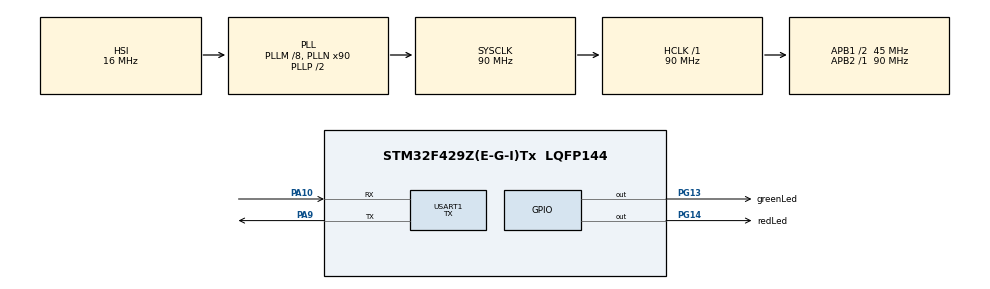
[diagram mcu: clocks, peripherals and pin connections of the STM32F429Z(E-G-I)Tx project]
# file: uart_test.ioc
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Mcu.Family=STM32F4
Mcu.Name=STM32F429Z(E-G-I)Tx
Mcu.Package=LQFP144
NVIC.PriorityGroup=NVIC_PRIORITYGROUP_4
NVIC.TIM8_TRG_COM_TIM14_IRQn=true\:0\:0\:false\:false\:true\:true
PA10.Mode=Asynchronous
PA10.Signal=USART1_RX
PA13.Mode=Serial_Wire
PA13.Signal=SYS_JTMS-SWDIO
PA14.Mode=Serial_Wire
PA14.Signal=SYS_JTCK-SWCLK
PA9.Mode=Asynchronous
PA9.Signal=USART1_TX
PG13.GPIO_Label=greenLed
PG13.Signal=GPIO_Output
PG14.GPIO_Label=redLed
PG14.Signal=GPIO_Output
ProjectManager.HeapSize=0x200
ProjectManager.StackSize=0x400
ProjectManager.TargetToolchain=SW4STM32
RCC.48MHZClocksFreq_Value=45000000
RCC.AHBFreq_Value=90000000
RCC.APB1CLKDivider=RCC_HCLK_DIV2
RCC.APB1Freq_Value=45000000
RCC.APB1TimFreq_Value=90000000
RCC.APB2Freq_Value=90000000
RCC.APB2TimFreq_Value=90000000
RCC.CortexFreq_Value=90000000
RCC.HCLKFreq_Value=90000000
RCC.HSE_VALUE=25000000
RCC.HSI_VALUE=16000000
RCC.LSE_VALUE=32768
RCC.PLLM=8
RCC.PLLN=90
RCC.SYSCLKFreq_VALUE=90000000
RCC.SYSCLKSource=RCC_SYSCLKSOURCE_PLLCLK
RCC.VCOOutputFreq_Value=180000000
TIM14.Period=9000
TIM14.Prescaler=10000
USART1.Mode=MODE_TX
USART1.VirtualMode=VM_ASYNC
VP_TIM14_VS_ClockSourceINT.Mode=Enable_Timer
board=uart_test

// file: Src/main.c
/**
  ******************************************************************************
  * File Name          : main.c
  * Description        : Main program body
  ******************************************************************************
  ** This notice applies to any and all portions of this file
  * that are not between comment pairs USER CODE BEGIN and
  * USER CODE END. Other portions of this file, whether
  * inserted by the user or by software development tools
  * are owned by their respective copyright owners.
  *
  * COPYRIGHT(c) 2017 STMicroelectronics
  *
  * Redistribution and use in source and binary forms, with or without modification,
  * are permitted provided that the following conditions are met:
  *   1. Redistributions of source code must retain the above copyright notice,
  *      this list of conditions and the following disclaimer.
  *   2. Redistributions in binary form must reproduce the above copyright notice,
  *      this list of conditions and the following disclaimer in the documentation
  *      and/or other materials provided with the distribution.
  *   3. Neither the name of STMicroelectronics nor the names of its contributors
  *      may be used to endorse or promote products derived from this software
  *      without specific prior written permission.
  *
  * THIS SOFTWARE IS PROVIDED BY THE COPYRIGHT HOLDERS AND CONTRIBUTORS "AS IS"
  * AND ANY EXPRESS OR IMPLIED WARRANTIES, INCLUDING, BUT NOT LIMITED TO, THE
  * IMPLIED WARRANTIES OF MERCHANTABILITY AND FITNESS FOR A PARTICULAR PURPOSE ARE
  * DISCLAIMED. IN NO EVENT SHALL THE COPYRIGHT HOLDER OR CONTRIBUTORS BE LIABLE
  * FOR ANY DIRECT, INDIRECT, INCIDENTAL, SPECIAL, EXEMPLARY, OR CONSEQUENTIAL
  * DAMAGES (INCLUDING, BUT NOT LIMITED TO, PROCUREMENT OF SUBSTITUTE GOODS OR
  * SERVICES; LOSS OF USE, DATA, OR PROFITS; OR BUSINESS INTERRUPTION) HOWEVER
  * CAUSED AND ON ANY THEORY OF LIABILITY, WHETHER IN CONTRACT, STRICT LIABILITY,
  * OR TORT (INCLUDING NEGLIGENCE OR OTHERWISE) ARISING IN ANY WAY OUT OF THE USE
  * OF THIS SOFTWARE, EVEN IF ADVISED OF THE POSSIBILITY OF SUCH DAMAGE.
  *
  ******************************************************************************
  */
#include "main.h"
#include "stm32f4xx_hal.h"

/* USER CODE BEGIN Includes */
#include "Uart.h"
#include "Gpio.h"
#include <string.h>
#include <malloc.h>
/* USER CODE END Includes */

TIM_HandleTypeDef htim14;

UART_HandleTypeDef huart1;

/* USER CODE BEGIN PV */
/* Private variables ---------------------------------------------------------*/
#include "Uart.h"
/* USER CODE END PV */

void SystemClock_Config(void);
static void MX_GPIO_Init(void);
static void MX_USART1_UART_Init(void);
static void MX_TIM14_Init(void);

/* USER CODE BEGIN PFP */
/* Private function prototypes -----------------------------------------------*/

/* USER CODE END PFP */

int main(void)
{

  /* MCU Configuration----------------------------------------------------------*/

  /* Reset of all peripherals, Initializes the Flash interface and the Systick. */
  HAL_Init();

  /* Configure the system clock */
  SystemClock_Config();

  /* Initialize all configured peripherals */
  MX_GPIO_Init();
  MX_USART1_UART_Init();
  MX_TIM14_Init();

  /* USER CODE BEGIN 2 */

  __HAL_RCC_GPIOA_CLK_ENABLE();
  gpioConfig(GpioA, 9, GPIO_MODE_AF, GPIO_PUSH_PULL, GPIO_PULLUP, GPIO_VH_SPEED);
  setGpioAlternateFunc(GpioA, 9, 7);

  gpioConfig(GpioA, 10, GPIO_MODE_AF, GPIO_PUSH_PULL, GPIO_PULLUP, GPIO_VH_SPEED);
  setGpioAlternateFunc(GpioA, 10, 7);

  //////////USART1 CONFIGURATION/////////////////
  __HAL_RCC_USART1_CLK_ENABLE();
  enableAndConfParamUsart(Usart1, USART_WORDLENGTH_9DATA, USART_STOP_ONE_AND_HALF, OVER16_EN, 115200);
  configureParityBit(Usart1, USART_PAR_EN, USART_PAR_ODD);
  nvicEnableIrq(37);
  char *tStrData = "Hello world!\n";
  char *rStrData = (char*)malloc(sizeof(char) * 10);
  /* USER CODE END 2 */

  /* Infinite loop */
  /* USER CODE BEGIN WHILE */
  CLEAR_BIT(htim14.Instance->SR, TIM_SR_UIF);
//  HAL_TIM_Base_Start_IT(&htim14);
  while (1)
  {
  /* USER CODE END WHILE */

  /* USER CODE BEGIN 3 */

	  uartReceiveUntilEnter(Usart1, rStrData);
	  //	  uartSendBytes(Usart1, (uint8_t *)tStrData, strlen(tStrData));
	  if(strcmp("turn on", rStrData) == 0){
		  HAL_GPIO_TogglePin(redLed_GPIO_Port, redLed_Pin);
	  }
	  else if(strcmp("turn off", rStrData) == 0){
		  HAL_GPIO_WritePin(redLed_GPIO_Port, redLed_Pin, GPIO_PIN_RESET);
	  }
	  else if(strcmp("blink!", rStrData) == 0){
		  //start timer
		  HAL_TIM_Base_Start_IT(&htim14);

	  }

  }
  /* USER CODE END 3 */

}

/** System Clock Configuration
*/
void SystemClock_Config(void)
{

  RCC_OscInitTypeDef RCC_OscInitStruct;
  RCC_ClkInitTypeDef RCC_ClkInitStruct;

    /**Configure the main internal regulator output voltage
    */
  __HAL_RCC_PWR_CLK_ENABLE();

  __HAL_PWR_VOLTAGESCALING_CONFIG(PWR_REGULATOR_VOLTAGE_SCALE3);

    /**Initializes the CPU, AHB and APB busses clocks
    */
  RCC_OscInitStruct.OscillatorType = RCC_OSCILLATORTYPE_HSI;
  RCC_OscInitStruct.HSIState = RCC_HSI_ON;
  RCC_OscInitStruct.HSICalibrationValue = 16;
  RCC_OscInitStruct.PLL.PLLState = RCC_PLL_ON;
  RCC_OscInitStruct.PLL.PLLSource = RCC_PLLSOURCE_HSI;
  RCC_OscInitStruct.PLL.PLLM = 8;
  RCC_OscInitStruct.PLL.PLLN = 90;
  RCC_OscInitStruct.PLL.PLLP = RCC_PLLP_DIV2;
  RCC_OscInitStruct.PLL.PLLQ = 4;
  if (HAL_RCC_OscConfig(&RCC_OscInitStruct) != HAL_OK)
  {
    _Error_Handler(__FILE__, __LINE__);
  }

    /**Activate the Over-Drive mode
    */
  if (HAL_PWREx_EnableOverDrive() != HAL_OK)
  {
    _Error_Handler(__FILE__, __LINE__);
  }

    /**Initializes the CPU, AHB and APB busses clocks
    */
  RCC_ClkInitStruct.ClockType = RCC_CLOCKTYPE_HCLK|RCC_CLOCKTYPE_SYSCLK
                              |RCC_CLOCKTYPE_PCLK1|RCC_CLOCKTYPE_PCLK2;
  RCC_ClkInitStruct.SYSCLKSource = RCC_SYSCLKSOURCE_PLLCLK;
  RCC_ClkInitStruct.AHBCLKDivider = RCC_SYSCLK_DIV1;
  RCC_ClkInitStruct.APB1CLKDivider = RCC_HCLK_DIV2;
  RCC_ClkInitStruct.APB2CLKDivider = RCC_HCLK_DIV1;

  if (HAL_RCC_ClockConfig(&RCC_ClkInitStruct, FLASH_LATENCY_2) != HAL_OK)
  {
    _Error_Handler(__FILE__, __LINE__);
  }

    /**Configure the Systick interrupt time
    */
  HAL_SYSTICK_Config(HAL_RCC_GetHCLKFreq()/1000);

    /**Configure the Systick
    */
  HAL_SYSTICK_CLKSourceConfig(SYSTICK_CLKSOURCE_HCLK);

  /* SysTick_IRQn interrupt configuration */
  HAL_NVIC_SetPriority(SysTick_IRQn, 0, 0);
}

/* TIM14 init function */
static void MX_TIM14_Init(void)
{

  htim14.Instance = TIM14;
  htim14.Init.Prescaler = 10000;
  htim14.Init.CounterMode = TIM_COUNTERMODE_UP;
  htim14.Init.Period = 9000;
  htim14.Init.ClockDivision = TIM_CLOCKDIVISION_DIV1;
  if (HAL_TIM_Base_Init(&htim14) != HAL_OK)
  {
    _Error_Handler(__FILE__, __LINE__);
  }

}

/* USART1 init function */
static void MX_USART1_UART_Init(void)
{

  huart1.Instance = USART1;
  huart1.Init.BaudRate = 115200;
  huart1.Init.WordLength = UART_WORDLENGTH_8B;
  huart1.Init.StopBits = UART_STOPBITS_1;
  huart1.Init.Parity = UART_PARITY_NONE;
  huart1.Init.Mode = UART_MODE_TX;
  huart1.Init.HwFlowCtl = UART_HWCONTROL_NONE;
  huart1.Init.OverSampling = UART_OVERSAMPLING_16;
  if (HAL_UART_Init(&huart1) != HAL_OK)
  {
    _Error_Handler(__FILE__, __LINE__);
  }

}

/** Configure pins as
        * Analog
        * Input
        * Output
        * EVENT_OUT
        * EXTI
*/
static void MX_GPIO_Init(void)
{

  GPIO_InitTypeDef GPIO_InitStruct;

  /* GPIO Ports Clock Enable */
  __HAL_RCC_GPIOA_CLK_ENABLE();
  __HAL_RCC_GPIOG_CLK_ENABLE();

  /*Configure GPIO pin Output Level */
  HAL_GPIO_WritePin(GPIOG, greenLed_Pin|redLed_Pin, GPIO_PIN_RESET);

  /*Configure GPIO pins : greenLed_Pin redLed_Pin */
  GPIO_InitStruct.Pin = greenLed_Pin|redLed_Pin;
  GPIO_InitStruct.Mode = GPIO_MODE_OUTPUT_PP;
  GPIO_InitStruct.Pull = GPIO_NOPULL;
  GPIO_InitStruct.Speed = GPIO_SPEED_FREQ_LOW;
  HAL_GPIO_Init(GPIOG, &GPIO_InitStruct);

}

/* USER CODE BEGIN 4 */
void controlLed(void){
	char *rStrData = (char*)malloc(sizeof(char) * 10);
	uartReceiveUntilEnter(Usart1, rStrData);
		  	    //	  uartSendBytes(Usart1, (uint8_t *)tStrData, strlen(tStrData));
		  	    if(strcmp("turn on", rStrData) == 0){
		  	  	  HAL_GPIO_TogglePin(redLed_GPIO_Port, redLed_Pin);
		  	    }
		  	    else if(strcmp("turn off", rStrData) == 0){
		  	  	  HAL_GPIO_WritePin(redLed_GPIO_Port, redLed_Pin, GPIO_PIN_RESET);
		  	    }
}

void HAL_TIM_PeriodElapsedCallback(TIM_HandleTypeDef *htim){
	CLEAR_BIT(htim14.Instance->SR, TIM_SR_UIF);
	HAL_GPIO_TogglePin(greenLed_GPIO_Port, greenLed_Pin);
}
/* USER CODE END 4 */

void _Error_Handler(char * file, int line)
{
  while(1)
  {
  }
}

/************************ (C) COPYRIGHT STMicroelectronics *****END OF FILE****/
